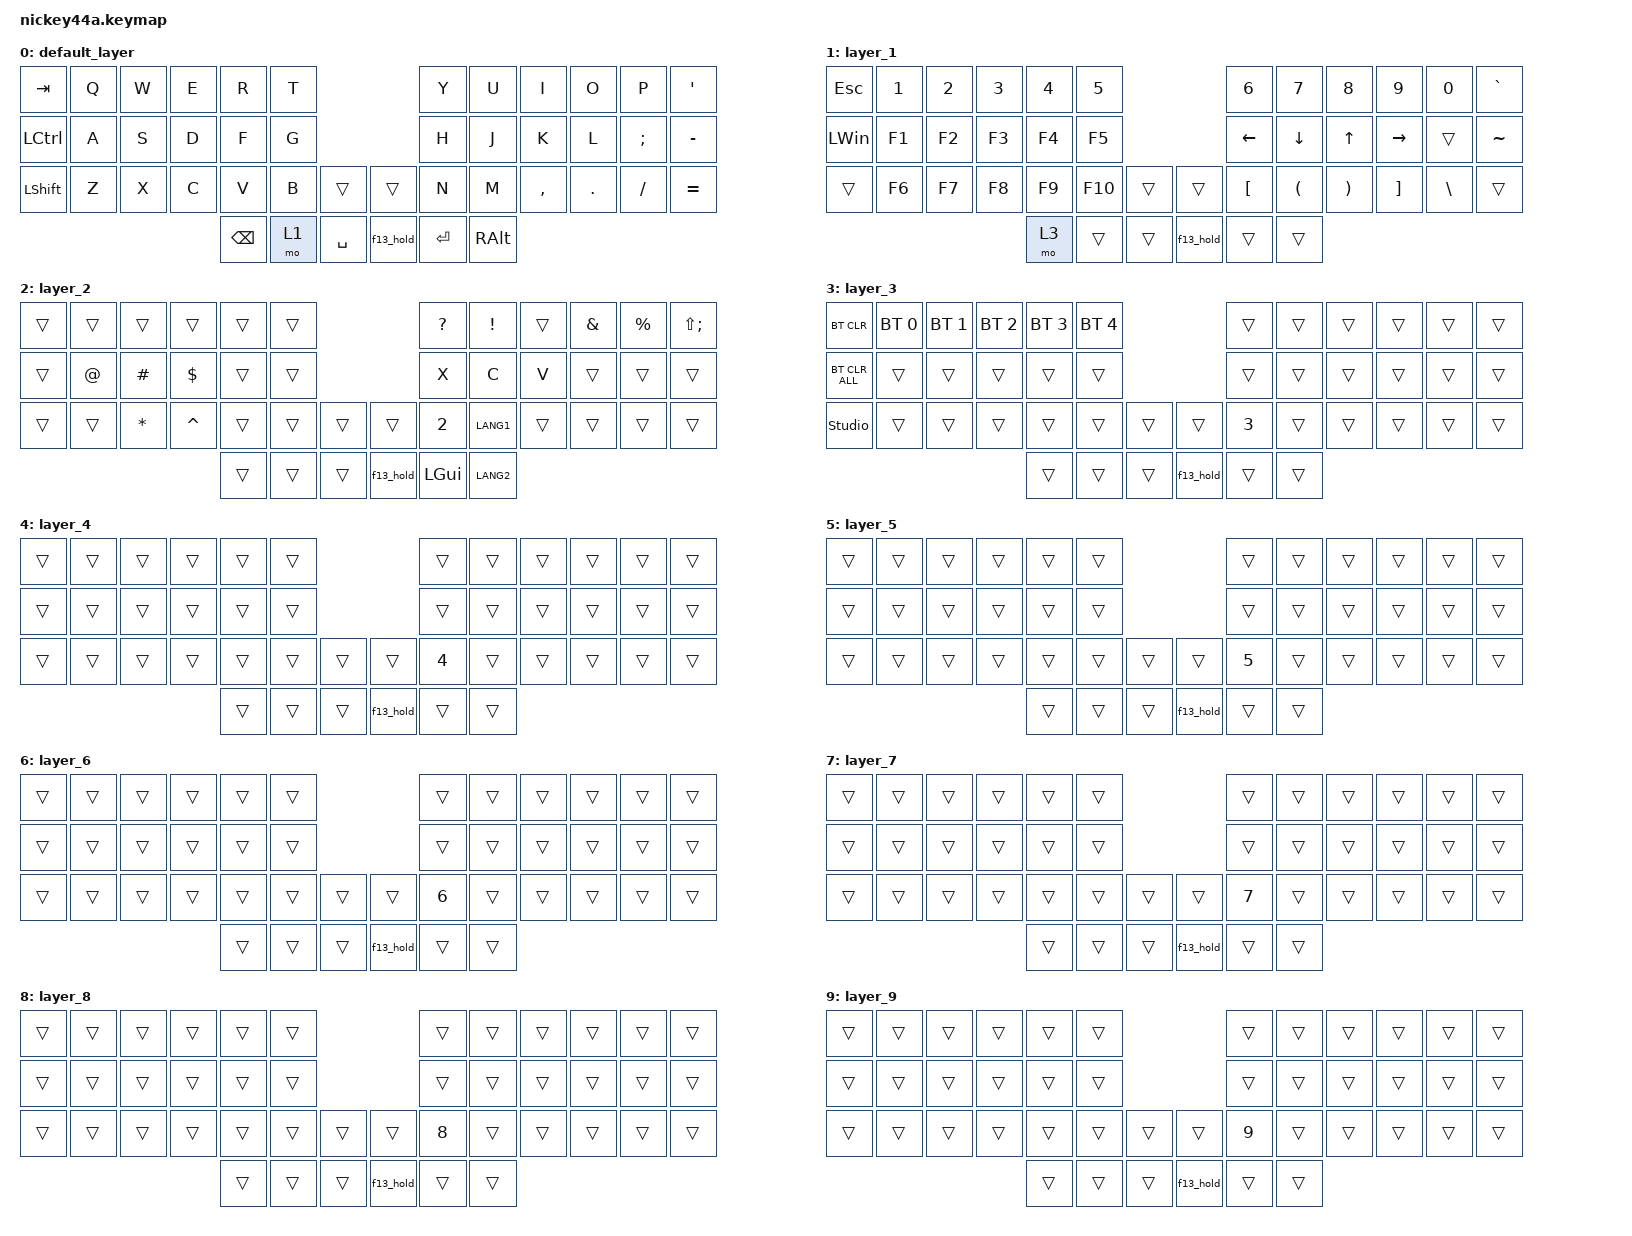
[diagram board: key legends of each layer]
#include <behaviors.dtsi>
#include <dt-bindings/zmk/bt.h>
#include <dt-bindings/zmk/keys.h>

&mt {
    flavor = "balanced";
    quick-tap-ms = <0>;
};

&lt {
    quick-tap-ms = <300>;
    flavor = "balanced";
};

/ {
    combos { compatible = "zmk,combos"; };

    macros {
        to_layer_0: to_layer_0 {
            compatible = "zmk,behavior-macro-one-param";
            #binding-cells = <1>;
            bindings = <&to 0 &macro_param_1to1 &kp MACRO_PLACEHOLDER>;
            label = "TO_LAYER_0";
        };
    };

    behaviors {
        lt_to_layer_0: lt_to_layer_0 {
            compatible = "zmk,behavior-hold-tap";
            label = "LAYER_TAP_TO_0";
            bindings = <&mo>, <&to_layer_0>;

            #binding-cells = <2>;
            tapping-term-ms = <200>;
        };

        f13_hold: f13_hold {
            compatible = "zmk,behavior-f13-hold";
            #binding-cells = <0>;
        };

        f13_layer_up: f13_layer_up {
            compatible = "zmk,behavior-layer-up";
            #binding-cells = <0>;
        };
    };

    f13_gate_normal: f13_gate_normal {
        compatible = "zmk,input-processor-f13-gate";
        #input-processor-cells = <0>;
        mode = <0>;
    };

    f13_gate_active: f13_gate_active {
        compatible = "zmk,input-processor-f13-gate";
        #input-processor-cells = <0>;
        mode = <1>;
    };

    keymap {
        compatible = "zmk,keymap";

        default_layer {
            bindings = <
&kp TAB    &kp Q  &kp W  &kp E  &kp R     &kp T                          &kp Y    &kp U     &kp I      &kp O    &kp P     &kp SQT
&kp LCTRL  &kp A  &kp S  &kp D  &kp F     &kp G                          &kp H    &kp J     &kp K      &kp L    &kp SEMI  &kp MINUS
&kp LSHFT  &kp Z  &kp X  &kp C  &kp V     &kp B  &trans       &trans     &kp N    &kp M     &kp COMMA  &kp DOT  &kp FSLH  &kp EQUAL
                                &kp BSPC  &mo 1  &kp SPACE    &f13_hold  &kp RET  &kp RALT
            >;
        };

        layer_1 {
            bindings = <
&kp ESCAPE    &kp NUMBER_1  &kp NUMBER_2  &kp NUMBER_3  &kp NUMBER_4  &kp NUMBER_5                        &kp NUMBER_6      &kp N7                &kp N8                 &kp N9             &kp N0         &kp GRAVE
&kp LEFT_WIN  &kp F1        &kp F2        &kp F3        &kp F4        &kp F5                              &kp LEFT          &kp DOWN              &kp UP                 &kp RIGHT          &trans         &kp TILDE
&trans        &kp F6        &kp F7        &kp F8        &kp F9        &kp F10       &trans    &trans      &kp LEFT_BRACKET  &kp LEFT_PARENTHESIS  &kp RIGHT_PARENTHESIS  &kp RIGHT_BRACKET  &kp BACKSLASH  &trans
                                                        &mo 3         &trans        &trans    &f13_hold   &trans            &trans
            >;
        };

        layer_2 {
            bindings = <
&trans  &trans  &trans     &trans      &trans  &trans                       &kp QUESTION   &kp EXCL   &trans  &kp AMPERSAND  &kp PERCENT  &kp LS(SEMI)
&trans  &kp AT  &kp HASH   &kp DOLLAR  &trans  &trans                       &kp X          &kp C      &kp V   &trans         &trans       &trans
&trans  &trans  &kp ASTRK  &kp CARET   &trans  &trans  &trans    &trans     &kp NUMBER_2   &kp LANG1  &trans  &trans         &trans       &trans
                                       &trans  &trans  &trans    &f13_hold  &kp LGUI       &kp LANG2
            >;
        };

        layer_3 {
            bindings = <
&bt BT_CLR      &bt BT_SEL 0  &bt BT_SEL 1  &bt BT_SEL 2  &bt BT_SEL 3  &bt BT_SEL 4                       &trans        &trans  &trans  &trans  &trans  &trans
&bt BT_CLR_ALL  &trans        &trans        &trans        &trans        &trans                             &trans        &trans  &trans  &trans  &trans  &trans
&studio_unlock  &trans        &trans        &trans        &trans        &trans        &trans    &trans     &kp NUMBER_3  &trans  &trans  &trans  &trans  &trans
                                                          &trans        &trans        &trans    &f13_hold  &trans        &trans
            >;
        };

        layer_4 {
            bindings = <
&trans        &trans        &trans        &trans        &trans        &trans                             &trans        &trans  &trans  &trans  &trans  &trans
&trans        &trans        &trans        &trans        &trans        &trans                             &trans        &trans  &trans  &trans  &trans  &trans
&trans        &trans        &trans        &trans        &trans        &trans        &trans    &trans     &kp NUMBER_4  &trans  &trans  &trans  &trans  &trans
                                                        &trans        &trans        &trans    &f13_hold  &trans        &trans
            >;
        };

        layer_5 {
            bindings = <
&trans        &trans        &trans        &trans        &trans        &trans                             &trans        &trans  &trans  &trans  &trans  &trans
&trans        &trans        &trans        &trans        &trans        &trans                             &trans        &trans  &trans  &trans  &trans  &trans
&trans        &trans        &trans        &trans        &trans        &trans        &trans    &trans     &kp NUMBER_5  &trans  &trans  &trans  &trans  &trans
                                                        &trans        &trans        &trans    &f13_hold  &trans        &trans
            >;
        };

        layer_6 {
            bindings = <
&trans        &trans        &trans        &trans        &trans        &trans                             &trans        &trans  &trans  &trans  &trans  &trans
&trans        &trans        &trans        &trans        &trans        &trans                             &trans        &trans  &trans  &trans  &trans  &trans
&trans        &trans        &trans        &trans        &trans        &trans        &trans    &trans     &kp NUMBER_6  &trans  &trans  &trans  &trans  &trans
                                                        &trans        &trans        &trans    &f13_hold  &trans        &trans
            >;
        };

        layer_7 {
            bindings = <
&trans        &trans        &trans        &trans        &trans        &trans                             &trans        &trans  &trans  &trans  &trans  &trans
&trans        &trans        &trans        &trans        &trans        &trans                             &trans        &trans  &trans  &trans  &trans  &trans
&trans        &trans        &trans        &trans        &trans        &trans        &trans    &trans     &kp NUMBER_7  &trans  &trans  &trans  &trans  &trans
                                                        &trans        &trans        &trans    &f13_hold  &trans        &trans
            >;
        };

        layer_8 {
            bindings = <
&trans        &trans        &trans        &trans        &trans        &trans                             &trans        &trans  &trans  &trans  &trans  &trans
&trans        &trans        &trans        &trans        &trans        &trans                             &trans        &trans  &trans  &trans  &trans  &trans
&trans        &trans        &trans        &trans        &trans        &trans        &trans    &trans     &kp NUMBER_8  &trans  &trans  &trans  &trans  &trans
                                                        &trans        &trans        &trans    &f13_hold  &trans        &trans
            >;
        };

        layer_9 {
            bindings = <
&trans        &trans        &trans        &trans        &trans        &trans                             &trans        &trans  &trans  &trans  &trans  &trans
&trans        &trans        &trans        &trans        &trans        &trans                             &trans        &trans  &trans  &trans  &trans  &trans
&trans        &trans        &trans        &trans        &trans        &trans        &trans    &trans     &kp NUMBER_9  &trans  &trans  &trans  &trans  &trans
                                                        &trans        &trans        &trans    &f13_hold  &trans        &trans
            >;
        };
    };
};
